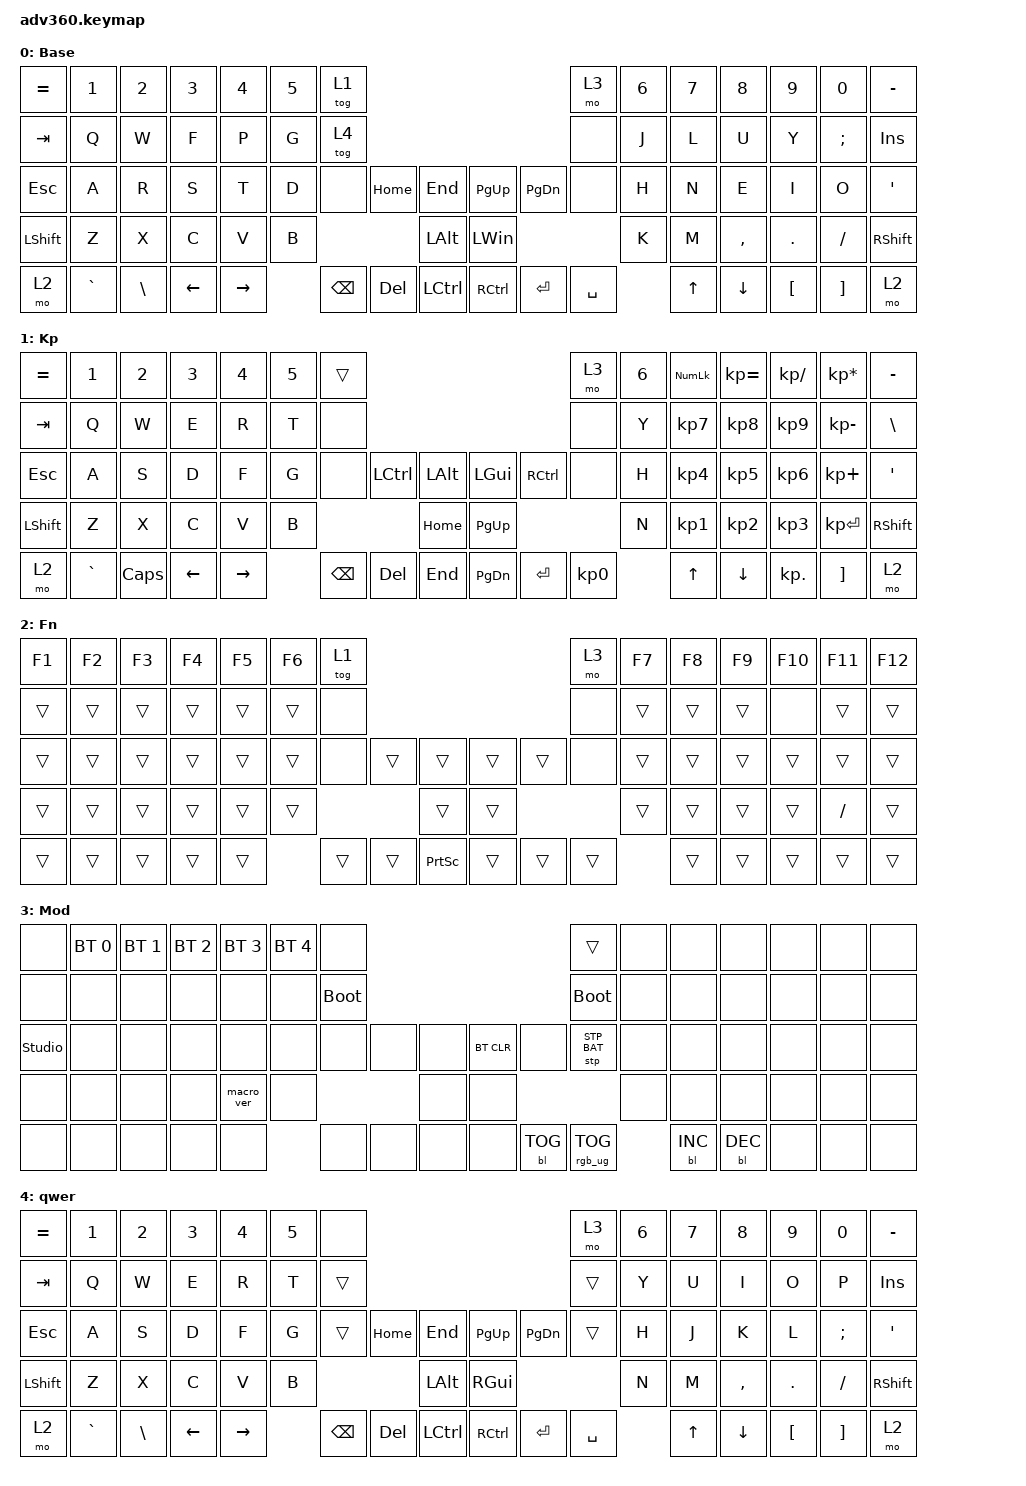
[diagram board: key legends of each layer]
#include <dt-bindings/zmk/stp.h>
#include <behaviors.dtsi>
#include <dt-bindings/zmk/backlight.h>
#include <dt-bindings/zmk/bt.h>
#include <dt-bindings/zmk/keys.h>
#include <dt-bindings/zmk/rgb.h>

/ {
    behaviors {
        #include "macros.dtsi"
      #include "version.dtsi"

        hm: homerow_mods {
            compatible = "zmk,behavior-hold-tap";
            label = "HOMEROW_MODS";
            #binding-cells = <2>;
            tapping-term-ms = <200>;
            quick_tap_ms = <175>;
            flavor = "tap-preferred";
            bindings = <&kp>, <&kp>;
        };
    };

    keymap {
        compatible = "zmk,keymap";

        colemak {
            display-name = "Base";
            bindings = <
&kp EQUAL  &kp N1     &kp N2    &kp N3    &kp N4     &kp N5  &tog 1                                                         &mo 3      &kp N6  &kp N7  &kp N8     &kp N9    &kp N0    &kp MINUS
&kp TAB    &kp Q      &kp W     &kp F     &kp P      &kp G   &tog 4                                                         &none      &kp J   &kp L   &kp U      &kp Y     &kp SEMI  &kp INS
&kp ESC    &kp A      &kp R     &kp S     &kp T      &kp D   &none     &kp HOME  &kp END           &kp PG_UP     &kp PG_DN  &none      &kp H   &kp N   &kp E      &kp I     &kp O     &kp SQT
&kp LSHFT  &kp Z      &kp X     &kp C     &kp V      &kp B                       &kp LEFT_ALT      &kp LEFT_WIN                        &kp K   &kp M   &kp COMMA  &kp DOT   &kp FSLH  &kp RSHFT
&mo 2      &kp GRAVE  &kp BSLH  &kp LEFT  &kp RIGHT          &kp BSPC  &kp DEL   &kp LCTRL         &kp RCTRL     &kp ENTER  &kp SPACE          &kp UP  &kp DOWN   &kp LBKT  &kp RBKT  &mo 2
            >;
        };

        keypad {
            display-name = "Kp";
            bindings = <
&kp EQUAL  &kp N1     &kp N2    &kp N3    &kp N4     &kp N5  &trans                                                   &mo 3      &kp N6  &kp KP_NUM  &kp KP_EQUAL  &kp KP_DIVIDE  &kp KP_MULTIPLY  &kp MINUS
&kp TAB    &kp Q      &kp W     &kp E     &kp R      &kp T   &none                                                    &none      &kp Y   &kp KP_N7   &kp KP_N8     &kp KP_N9      &kp KP_MINUS     &kp BSLH
&kp ESC    &kp A      &kp S     &kp D     &kp F      &kp G   &none     &kp LCTRL  &kp LALT      &kp LGUI   &kp RCTRL  &none      &kp H   &kp KP_N4   &kp KP_N5     &kp KP_N6      &kp KP_PLUS      &kp SQT
&kp LSHFT  &kp Z      &kp X     &kp C     &kp V      &kp B                        &kp HOME      &kp PG_UP                        &kp N   &kp KP_N1   &kp KP_N2     &kp KP_N3      &kp KP_ENTER     &kp RSHFT
&mo 2      &kp GRAVE  &kp CAPS  &kp LEFT  &kp RIGHT          &kp BSPC  &kp DEL    &kp END       &kp PG_DN  &kp ENTER  &kp KP_N0          &kp UP      &kp DOWN      &kp KP_DOT     &kp RBKT         &mo 2
            >;
        };

        fn {
            display-name = "Fn";
            bindings = <
&kp F1  &kp F2  &kp F3  &kp F4  &kp F5  &kp F6  &tog 1                                         &mo 3   &kp F7  &kp F8  &kp F9  &kp F10  &kp F11   &kp F12
&trans  &trans  &trans  &trans  &trans  &trans  &none                                          &none   &trans  &trans  &trans  &none    &trans    &trans
&trans  &trans  &trans  &trans  &trans  &trans  &none   &trans  &trans         &trans  &trans  &none   &trans  &trans  &trans  &trans   &trans    &trans
&trans  &trans  &trans  &trans  &trans  &trans                  &trans         &trans                  &trans  &trans  &trans  &trans   &kp FSLH  &trans
&trans  &trans  &trans  &trans  &trans          &trans  &trans  &kp PSCRN      &trans  &trans  &trans          &trans  &trans  &trans   &trans    &trans
            >;
        };

        mod {
            display-name = "Mod";
            bindings = <
&none           &bt BT_SEL 0  &bt BT_SEL 1  &bt BT_SEL 2  &bt BT_SEL 3  &bt BT_SEL 4  &none                                                  &trans           &none  &none       &none       &none  &none  &none
&none           &none         &none         &none         &none         &none         &bootloader                                            &bootloader      &none  &none       &none       &none  &none  &none
&studio_unlock  &none         &none         &none         &none         &none         &none        &none  &none      &bt BT_CLR  &none       &stp STP_BAT     &none  &none       &none       &none  &none  &none
&none           &none         &none         &none         &macro_ver    &none                             &none      &none                                    &none  &none       &none       &none  &none  &none
&none           &none         &none         &none         &none                       &none        &none  &none      &none       &bl BL_TOG  &rgb_ug RGB_TOG         &bl BL_INC  &bl BL_DEC  &none  &none  &none
            >;
        };

        qwer {
            bindings = <
&kp EQUAL  &kp N1     &kp N2    &kp N3    &kp N4     &kp N5  &none                                                    &mo 3      &kp N6  &kp N7  &kp N8     &kp N9    &kp N0    &kp MINUS
&kp TAB    &kp Q      &kp W     &kp E     &kp R      &kp T   &trans                                                   &trans     &kp Y   &kp U   &kp I      &kp O     &kp P     &kp INSERT
&kp ESC    &kp A      &kp S     &kp D     &kp F      &kp G   &trans    &kp HOME  &kp END        &kp PG_UP  &kp PG_DN  &trans     &kp H   &kp J   &kp K      &kp L     &kp SEMI  &kp APOS
&kp LSHFT  &kp Z      &kp X     &kp C     &kp V      &kp B                       &kp LALT       &kp RGUI                         &kp N   &kp M   &kp COMMA  &kp DOT   &kp FSLH  &kp RSHFT
&mo 2      &kp GRAVE  &kp BSLH  &kp LEFT  &kp RIGHT          &kp BSPC  &kp DEL   &kp LCTRL      &kp RCTRL  &kp RET    &kp SPACE          &kp UP  &kp DOWN   &kp LBKT  &kp RBKT  &mo 2
            >;
        };
    };
};
